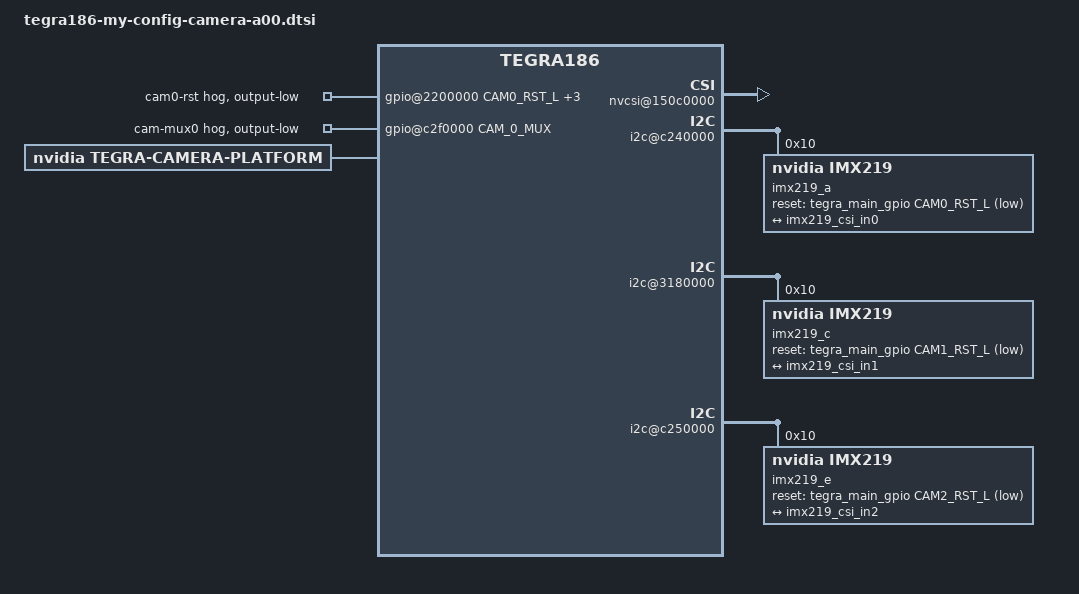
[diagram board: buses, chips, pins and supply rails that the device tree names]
#include "dt-bindings/clock/tegra186-clock.h"
#include <dt-bindings/pinctrl/pinctrl-tegra.h>
#include <dt-bindings/gpio/tegra186-gpio.h>

#define CAM0_RST_L  TEGRA_MAIN_GPIO(R, 0)
#define CAM1_RST_L  TEGRA_MAIN_GPIO(N, 2)
#define CAM2_RST_L  TEGRA_MAIN_GPIO(R, 5)

#define CAM_0_MUX		TEGRA_AON_GPIO(V, 5)	//GPIO 0 on control UAV
#define CAM_1_MUX		TEGRA_MAIN_GPIO(X, 6)	//GPIO 1 on control UAV

/ {
	/* set camera gpio direction to output */
	gpio@2200000 {
		camera-control-output-low {
			status = "okay";
			gpio-hog;
			output-low;
			gpios = < CAM0_RST_L 0
				        CAM1_RST_L 0
                CAM2_RST_L 0
								CAM_1_MUX	 0>;
			label = "cam0-rst",
				      "cam1-rst",
              "cam2-rst",
							"cam-mux1";
		};
	};
	gpio@c2f0000 {
		aon-camera-control-output-low {
			status = "okay";
			gpio-hog;
			output-low;
			gpios = < CAM_0_MUX 0>;
			label = "cam-mux0";
		};
	};
};

/ {
  host1x {
		vi@15700000 {
      num-channels = <3>;
      ports {
        #address-cells = <1>;
        #size-cells = <0>;
        vi_port0: port@0 {
          status = "okay";
          reg = <0>;
          vi_in0: endpoint {
            status = "okay";
            csi-port = <0>;
            bus-width = <2>;
            remote-endpoint = <&imx219_csi_out0>;
          };
        };
        vi_port1: port@1 {
          status = "okay";
          reg = <1>;
          vi_in1: endpoint {
            status = "okay";
            csi-port = <2>;
            bus-width = <2>;
            remote-endpoint = <&imx219_csi_out1>;
          };
        };
        vi_port2: port@2 {
          status = "okay";
          reg = <2>;
          vi_in2: endpoint {
            status = "okay";
            csi-port = <4>;
            bus-width = <2>;
            remote-endpoint = <&imx219_csi_out2>;
          };
        };
    	};
		};

		nvcsi@150c0000 {
      status = "okay";
      num-channels = <3>;
      #address-cells = <1>;
      #size-cells = <0>;
			channel@0 {
        reg = <0>;
				status = "okay";
        ports {
          #address-cells = <1>;
          #size-cells = <0>;
					port@0 {
            status = "okay";
            reg = <0>;
            imx219_csi_in0: endpoint@0 {
            	status = "okay";
              csi-port = <0>;
              bus-width = <2>;
              remote-endpoint = <&imx219_phy_out0>;
            };
          };
					port@1 {
            status = "okay";
            reg = <1>;
            imx219_csi_out0: endpoint@1 {
            	status = "okay";
              remote-endpoint = <&vi_in0>;
            };
          };
        };
      };
			channel@1 {
        reg = <1>;
				status = "okay";
        ports {
          #address-cells = <1>;
          #size-cells = <0>;
					port@0 {
						status = "okay";
            reg = <0>;
            imx219_csi_in1: endpoint@2 {
						  status = "okay";
              csi-port = <2>;
              bus-width = <2>;
              remote-endpoint = <&imx219_phy_out1>;
            };
          };
					port@1 {
						status = "okay";
            reg = <1>;
            imx219_csi_out1: endpoint@3 {
						  status = "okay";
              remote-endpoint = <&vi_in1>;
            };
          };
        };
      };
			channel@2 {
        reg = <2>;
				status = "okay";
        ports {
          #address-cells = <1>;
          #size-cells = <0>;
					port@0 {
				    status = "okay";
            reg = <0>;
            imx219_csi_in2: endpoint@4 {
				      status = "okay";
              csi-port = <4>;
              bus-width = <2>;
              remote-endpoint = <&imx219_phy_out2>;
            };
          };
					port@1 {
				    status = "okay";
            reg = <1>;
            imx219_csi_out2: endpoint@5 {
              remote-endpoint = <&vi_in2>;
				      status = "okay";
            };
          };
        };
      };
    };
		//Make seperate module
      i2c@c240000 {
        #address-cells = <1>;
        #size-cells = <0>;
        reg = <0>;

        imx219_a@10 {
  		    #address-cells = <1>;
          #size-cells = <0>;

          //ADDED
          clocks = <&tegra_car TEGRA186_CLK_EXTPERIPH1>;
          clock-names = "extperiph1";
          mclk = "extperiph1";
          reset-gpios = <&tegra_main_gpio CAM0_RST_L GPIO_ACTIVE_LOW>;
          //reset-gpios = <&tegra_main_gpio CAM0_RST_L GPIO_ACTIVE_HIGH>;
          //vana-supply = <&en_vdd_cam_hv_2v8>;
          //vana-supply = <&en_vdd_cam_hv_2v8>;
          //vdig-supply = <&en_vdd_sys>;
          //dovdd-supply = <&en_vdd_cam>;
          //END

          devnode = "video0";
          compatible = "nvidia,imx219";
          reg = <0x10>;

          physical_w = "5.095";
          physical_h = "4.930";

          sensor_model ="imx219";
          //dovdd-supply = <&en_vdd_cam>;
          //avdd-reg = "vana";
          //dvdd-reg = "vdig";
          //iovdd-reg = "dovdd";

          mode0 { // IMX219_MODE_1920X1080
            mclk_khz = "24000";
            mclk_multiplier = "25";
            pix_clk_hz = "182400000";
            //pix_clk_hz = "170000000";

            num_lanes = "2";
            tegra_sinterface = "serial_a";
            discontinuous_clk = "yes";
            cil_settletime = "0";
            pixel_t = "bayer_rggb";
            readout_orientation = "90";
            inherent_gain = "1";

            active_w = "1920";
            active_h = "1080";

            line_length = "3448";
            dpcm_enable = "false";

            min_gain_val = "1.0";
            max_gain_val = "16";
            min_hdr_ratio = "1";
            max_hdr_ratio = "64";
            min_framerate = "1";
            max_framerate = "30";
            //min_exp_time = "33";
            min_exp_time = "11";
            max_exp_time = "683709";
            embedded_metadata_height = "0";
          };
          mode1 { // IMX219_MODE_1280X720
            mclk_khz = "24000";
            mclk_multiplier = "25";
            pix_clk_hz = "182400000";
            //pix_clk_hz = "170000000";

            num_lanes = "2";
            tegra_sinterface = "serial_a";
            discontinuous_clk = "yes";
            cil_settletime = "0";
            pixel_t = "bayer_rggb";
            readout_orientation = "90";
            inherent_gain = "1";

            active_w = "1280";
            active_h = "720";

            line_length = "3448";
            dpcm_enable = "false";
            //line_length = "1752";

            min_gain_val = "1";
            max_gain_val = "16";
            min_hdr_ratio = "1";
            max_hdr_ratio = "64";
            min_framerate = "1";
            max_framerate = "60";
            //min_exp_time = "16";
            min_exp_time = "11";
            max_exp_time = "683710";
            embedded_metadata_height = "0";
          };
          mode2 { // IMX219_MODE_640X480
            //mclk_khz = "47000";
            mclk_khz = "24000";
            mclk_multiplier = "25.0";
            pix_clk_hz = "182400000";
            //pix_clk_hz = "170000000";

            num_lanes = "2";
            tegra_sinterface = "serial_a";
            discontinuous_clk = "yes";
            cil_settletime = "0";
            pixel_t = "bayer_rggb";
            readout_orientation = "90";
            inherent_gain = "1";

            active_w = "640";
            active_h = "480";

            //line_length = "3448";
            line_length = "3559";
            dpcm_enable = "false";

            min_gain_val = "1";
            max_gain_val = "16";
            min_hdr_ratio = "1";
            max_hdr_ratio = "64";
            min_framerate = "1";
            max_framerate = "90";
            min_exp_time = "11";
 	 			  max_exp_time = "358731";
            embedded_metadata_height = "0";
          };

          ports {
            #address-cells = <1>;
            #size-cells = <0>;

            port@0 {
              reg = <0>;
              imx219_phy_out0: endpoint {
                csi-port = <0>;
                bus-width = <2>;
                remote-endpoint = <&imx219_csi_in0>;
              };
            };
          };
        };
      };

      i2c@3180000 {
        #address-cells = <1>;
        #size-cells = <0>;
        reg = <1>;

        imx219_c@10 {
  		    #address-cells = <1>;
          #size-cells = <0>;

          //ADDED!
          clocks = <&tegra_car TEGRA186_CLK_EXTPERIPH1>;
          clock-names = "extperiph1";
          mclk = "extperiph1";
          reset-gpios = <&tegra_main_gpio CAM1_RST_L GPIO_ACTIVE_LOW>;
          //reset-gpios = <&tegra_main_gpio CAM1_RST_L GPIO_ACTIVE_HIGH>;
          //vana-supply = <&en_vdd_cam_hv_2v8>;
          //vdig-supply = <&en_vdd_sys>;
          //dovdd-supply = <&en_vdd_cam>;
          //END

          devnode = "video1";
          compatible = "nvidia,imx219";
          reg = <0x10>;

          physical_w = "5.095";
          physical_h = "4.930";

          sensor_model ="imx219";
          //avdd-reg = "vana";
          //dvdd-reg = "vdig";
          //iovdd-reg = "dovdd";

          mode0 { // IMX219_MODE_1920X1080
            mclk_khz = "24000";
            mclk_multiplier = "25";
            pix_clk_hz = "182400000";
            //pix_clk_hz = "170000000";

            num_lanes = "2";
            tegra_sinterface = "serial_c";
            discontinuous_clk = "yes";
            cil_settletime = "0";
            pixel_t = "bayer_rggb";
            readout_orientation = "270";
            //readout_orientation = "90";
            inherent_gain = "1";

            active_w = "1920";
            active_h = "1080";

            line_length = "3448";
            dpcm_enable = "false";

            min_gain_val = "1";
            max_gain_val = "16";
            min_hdr_ratio = "1";
            max_hdr_ratio = "64";
            min_framerate = "1";
            max_framerate = "30";
            min_exp_time = "11";
            max_exp_time = "683709";
            embedded_metadata_height = "0";
          };
          mode1 { // IMX219_MODE_1280X720
            mclk_khz = "24000";
            mclk_multiplier = "25";
            pix_clk_hz = "182400000";
            //pix_clk_hz = "170000000";

            num_lanes = "2";
            tegra_sinterface = "serial_c";
            discontinuous_clk = "yes";
            cil_settletime = "0";
            pixel_t = "bayer_rggb";
            readout_orientation = "270";
            inherent_gain = "1";

            active_w = "1280";
            active_h = "720";

            line_length = "3448";
            dpcm_enable = "false";
            //line_length = "1752";

            min_gain_val = "1";
            max_gain_val = "16";
            min_hdr_ratio = "1";
            max_hdr_ratio = "64";
            min_framerate = "1";
            max_framerate = "60";
            //min_exp_time = "16";
            min_exp_time = "13";
            max_exp_time = "683709";
            embedded_metadata_height = "0";
          };
          mode2 { // IMX219_MODE_640X480

            //mclk_khz = "47000";
            mclk_khz = "24000";
            mclk_multiplier = "25.0";
            pix_clk_hz = "182400000";
            //pix_clk_hz = "170000000";

            num_lanes = "2";
            tegra_sinterface = "serial_c";
            discontinuous_clk = "yes";
            cil_settletime = "0";
            pixel_t = "bayer_rggb";
            readout_orientation = "270";
            inherent_gain = "1";

            active_w = "640";
            active_h = "480";

            //line_length = "3448";
            line_length = "3559";
            dpcm_enable = "false";

            min_gain_val = "1";
            max_gain_val = "16";
            min_hdr_ratio = "1";
            max_hdr_ratio = "64";
            min_framerate = "1";
            max_framerate = "90";
            min_exp_time = "11";
 	 			  max_exp_time = "358733";
            embedded_metadata_height = "0";
          };

          ports {
            #address-cells = <1>;
            #size-cells = <0>;

            port@0 {
              reg = <0>;
              imx219_phy_out1: endpoint {
                csi-port = <2>;
                bus-width = <2>;
                remote-endpoint = <&imx219_csi_in1>;
              };
            };
          };
        };
      };


      i2c@c250000 {
        #address-cells = <1>;
        #size-cells = <0>;
        reg = <2>;

        imx219_e@10 {
  		    #address-cells = <1>;
          #size-cells = <0>;

          //ADDED
          clocks = <&tegra_car TEGRA186_CLK_EXTPERIPH1>;
          clock-names = "extperiph1";
          mclk = "extperiph1";
          reset-gpios = <&tegra_main_gpio CAM2_RST_L GPIO_ACTIVE_LOW>;
          //reset-gpios = <&tegra_main_gpio CAM2_RST_L GPIO_ACTIVE_HIGH>;
          //vana-supply = <&en_vdd_cam_hv_2v8>;
          //vdig-supply = <&en_vdd_sys>;
          //dovdd-supply = <&en_vdd_cam>;
          //END

          devnode = "video2";
          compatible = "nvidia,imx219";
          reg = <0x10>;

          physical_w = "5.095";
          physical_h = "4.930";

          sensor_model ="imx219";
          //avdd-reg = "vana";
          //dvdd-reg = "vdig";
          //iovdd-reg = "dovdd";

          mode0 { // IMX219_MODE_1920X1080
            mclk_khz = "24000";
            mclk_multiplier = "25";
            pix_clk_hz = "182400000";
            //pix_clk_hz = "170000000";

            num_lanes = "2";
            tegra_sinterface = "serial_e";
            discontinuous_clk = "yes";
            cil_settletime = "0";
            pixel_t = "bayer_rggb";
            readout_orientation = "270";
            inherent_gain = "1";

            active_w = "1920";
            active_h = "1080";

            line_length = "3448";
            dpcm_enable = "false";

            min_gain_val = "1";
            max_gain_val = "16";
            min_hdr_ratio = "1";
            max_hdr_ratio = "64";
            min_framerate = "1";
            max_framerate = "30";
            min_exp_time = "11";
            max_exp_time = "683709";
            embedded_metadata_height = "0";
          };
          mode1 { // IMX219_MODE_1280X720
            mclk_khz = "24000";
            mclk_multiplier = "25";
            pix_clk_hz = "182400000";
            //pix_clk_hz = "170000000";

            num_lanes = "2";
            tegra_sinterface = "serial_e";
            discontinuous_clk = "yes";
            cil_settletime = "0";
            pixel_t = "bayer_rggb";
            readout_orientation = "270";
            inherent_gain = "1";

            active_w = "1280";
            active_h = "720";

            line_length = "3448";
            dpcm_enable = "false";
            //line_length = "1752";

            min_gain_val = "1";
            max_gain_val = "16";
            min_hdr_ratio = "1";
            max_hdr_ratio = "64";
            min_framerate = "1";
            max_framerate = "60";
            //min_exp_time = "16";
            min_exp_time = "13";
            max_exp_time = "683709";
            embedded_metadata_height = "0";
          };
          mode2 { // IMX219_MODE_640X480

            mclk_khz = "24000";
            mclk_multiplier = "25.0";
            pix_clk_hz = "182400000";

            num_lanes = "2";
            tegra_sinterface = "serial_e";
            discontinuous_clk = "yes";
            cil_settletime = "0";
            pixel_t = "bayer_rggb";
            readout_orientation = "270";
            inherent_gain = "1";

            active_w = "640";
            active_h = "480";

            line_length = "3559";
            dpcm_enable = "false";

            min_gain_val = "1.0";
            max_gain_val = "16";
            min_hdr_ratio = "1";
            max_hdr_ratio = "64";
            min_framerate = "1";
            max_framerate = "90";
            //min_exp_time = "22";
            min_exp_time = "11";
 	 			  max_exp_time = "358733";
            embedded_metadata_height = "0";
          };

          ports {
            #address-cells = <1>;
            #size-cells = <0>;

            port@0 {
              reg = <0>;
              imx219_phy_out2: endpoint {
                csi-port = <4>;
                bus-width = <2>;
                remote-endpoint = <&imx219_csi_in2>;
              };
            };
          };
        };
      };
	};
};


/* camera control gpio definitions */
/ {
	tegra-camera-platform {
    compatible = "nvidia, tegra-camera-platform";
    num_csi_lanes = <6>;
    max_lane_speed = <1500000>;
		max_pixel_rate = <750000>;
    min_bits_per_pixel = <10>;
    vi_peak_byte_per_pixel = <2>;
    vi_bw_margin_pct = <25>;
    isp_peak_byte_per_pixel = <5>;
    isp_bw_margin_pct = <25>;

    modules {
      module0 {
        status = "okay";
				//badge = "imx185_bottom_liimx185";
        //badge = "e3322_bottom_A815P2";
				badge = "e3326_bottom_P5V27C";
        position = "bottom";
        orientation = "0";
        drivernode0 {
        	status = "okay";
          pcl_id = "v4l2_sensor";
          devname = "imx219 9-0010";
          proc-device-tree = "/proc/device-tree/host1x/i2c@c240000/imx219_a@10";
        };
      };
      module1 {
        status = "okay";
				//badge = "imx185_top_liimx185";
        //badge = "e3322_top_A815P2";
				badge = "e3326_top_P5V27C";
        position = "top";
        orientation = "1";
        drivernode0 {
        	status = "okay";
          pcl_id = "v4l2_sensor";
          devname = "imx219 10-0010";
          proc-device-tree = "/proc/device-tree/host1x/i2c@3180000/imx219_c@10";
        };
      };
      module2 {
        status = "okay";
				//badge = "imx185_center_liimx185";
        //badge = "e3322_center_A815P2";
				badge = "e3326_center_P5V27C";
        position = "center";
        orientation = "1";
        drivernode0 {
        	status = "okay";
          pcl_id = "v4l2_sensor";
          devname = "imx219 11-0010";
          proc-device-tree = "/proc/device-tree/host1x/i2c@c250000/imx219_e@10";
        };
      };
    };
  };
};
